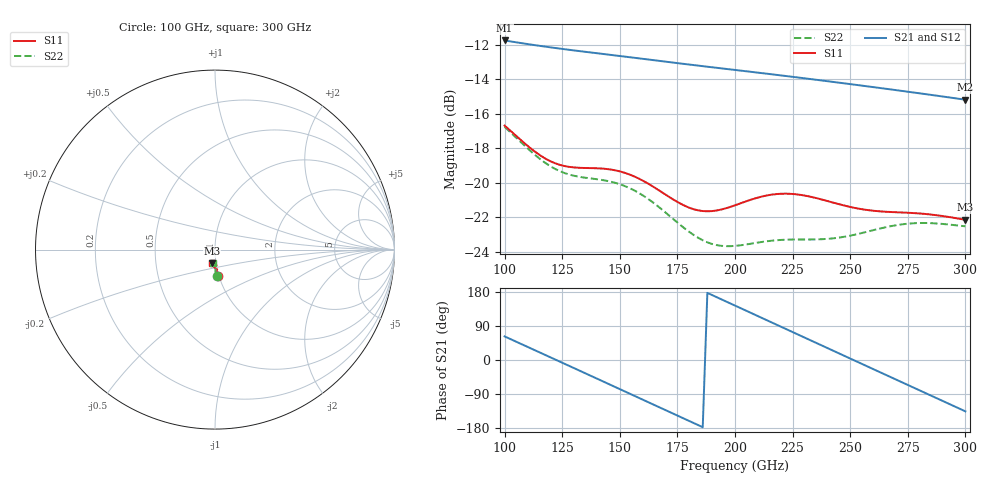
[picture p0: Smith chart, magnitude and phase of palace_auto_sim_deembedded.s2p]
! Created with skrf 1.11.0 (http://scikit-rf.org).
# GHz S DB R 50.0
!freq dBS11 angS11 dBS21 angS21 dBS12 angS12 dBS22 angS22
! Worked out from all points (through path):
!   101 points, 100 GHz to 300 GHz, reference 50 ohm
!   highest |S21| = -11.73 dB at 100 GHz (marker M1); lowest = -15.2 dB at 300 GHz (marker M2)
!   group delay of S21, straight-line fit = 7.75 ps
!   lowest |S11| = -22.2 dB at 300 GHz (marker M3), VSWR 1.17, Z = 47.8 - j7.33 ohm
!   |S11| at or under -10 dB: start of sweep to end of sweep
!   |S22| runs from -23.7 to -16.8 dB; largest |S21 - S12| = 4.3e-15
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100  -16.68 -84.5  -11.73 62.3  -11.73 62.3  -16.76 -86.1
110  -17.86 -86.4  -11.94 34.5  -11.94 34.5  -18.01 -88.8
118  -18.62 -85.6  -12.10 12.3  -12.10 12.3  -18.88 -88.7
126  -19.03 -84.1  -12.24 -9.9  -12.24 -9.9  -19.44 -87.5
134  -19.14 -83.6  -12.37 -32.2  -12.37 -32.2  -19.69 -87.1
144  -19.20 -85.4  -12.54 -60.1  -12.54 -60.1  -19.88 -88.9
152  -19.42 -88.3  -12.67 -82.4  -12.67 -82.4  -20.18 -91.9
160  -19.88 -91.0  -12.80 -104.8  -12.80 -104.8  -20.74 -95.1
168  -20.53 -92.5  -12.93 -127.1  -12.93 -127.1  -21.53 -97.2
176  -21.19 -91.7  -13.06 -149.4  -13.06 -149.4  -22.42 -97.3
184  -21.61 -89.0  -13.19 -171.7  -13.19 -171.7  -23.20 -94.9
192  -21.61 -86.1  -13.32 165.9  -13.32 165.9  -23.62 -91.1
200  -21.31 -84.6  -13.45 143.6  -13.45 143.6  -23.67 -87.7
208  -20.94 -85.4  -13.57 121.3  -13.57 121.3  -23.52 -85.9
216  -20.69 -87.8  -13.70 98.9  -13.70 98.9  -23.37 -85.5
224  -20.64 -90.8  -13.83 76.5  -13.83 76.5  -23.30 -85.7
234  -20.85 -94.4  -14.00 48.6  -14.00 48.6  -23.30 -85.8
250  -21.41 -97.2  -14.27 3.9  -14.27 3.9  -23.08 -85.3
258  -21.60 -97.6  -14.41 -18.4  -14.41 -18.4  -22.82 -85.8
268  -21.70 -98.1  -14.58 -46.3  -14.58 -46.3  -22.52 -87.8
284  -21.83 -100.2  -14.87 -90.9  -14.87 -90.9  -22.34 -92.8
300  -22.16 -102.5  -15.17 -135.5  -15.17 -135.5  -22.53 -96.9
